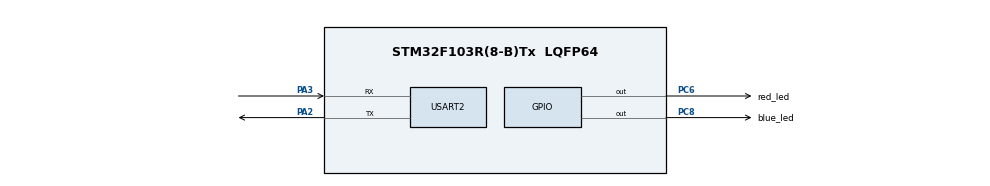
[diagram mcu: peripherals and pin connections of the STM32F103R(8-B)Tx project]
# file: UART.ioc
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Mcu.Family=STM32F1
Mcu.Name=STM32F103R(8-B)Tx
Mcu.Package=LQFP64
NVIC.PriorityGroup=NVIC_PRIORITYGROUP_4
PA2.Mode=Asynchronous
PA2.Signal=USART2_TX
PA3.Mode=Asynchronous
PA3.Signal=USART2_RX
PC6.GPIO_Label=red_led
PC6.Signal=GPIO_Output
PC8.GPIO_Label=blue_led
PC8.Signal=GPIO_Output
ProjectManager.HeapSize=0x200
ProjectManager.StackSize=0x400
ProjectManager.TargetToolchain=STM32CubeIDE
RCC.APB1Freq_Value=8000000
RCC.APB2Freq_Value=8000000
USART2.VirtualMode=VM_ASYNC
VP_SYS_VS_ND.Mode=No_Debug
board=custom

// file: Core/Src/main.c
/* USER CODE BEGIN Header */
/**
  ******************************************************************************
  * @file           : main.c
  * @brief          : Main program body
  ******************************************************************************
  * @attention
  *
  * <h2><center>&copy; Copyright (c) 2020 STMicroelectronics.
  * All rights reserved.</center></h2>
  *
  * This software component is licensed by ST under BSD 3-Clause license,
  * the "License"; You may not use this file except in compliance with the
  * License. You may obtain a copy of the License at:
  *                        opensource.org/licenses/BSD-3-Clause
  *
  ******************************************************************************
  */
/* USER CODE END Header */
#include "main.h"
#include "usart.h"
#include "gpio.h"

void SystemClock_Config(void);
/* USER CODE BEGIN PFP */
int _read(int file, char *ptr, int len);
int _write(int file, char *ptr, int len);
/* USER CODE END PFP */

int main(void)
{

  /* MCU Configuration--------------------------------------------------------*/

  /* Reset of all peripherals, Initializes the Flash interface and the Systick. */
  HAL_Init();

  /* Configure the system clock */
  SystemClock_Config();

  /* Initialize all configured peripherals */
  MX_GPIO_Init();
  MX_USART2_UART_Init();

  /* Infinite loop */
  /* USER CODE BEGIN WHILE */
  uint8_t buf[10] = "\n\r";
  int current_temp = 20;
  while (1)
  {
	  printf("Shell >> ");
	  scanf("%s", buf);
	  printf("\n\r");
	  if(!strcmp(buf, "1")){
		  HAL_GPIO_WritePin(GPIOC, red_led_Pin, 1);
		  HAL_GPIO_WritePin(GPIOC, blue_led_Pin, 0);
	  }
	  else if(!strcmp(buf, "2")){
		  HAL_GPIO_WritePin(GPIOC, red_led_Pin, 0);
		  HAL_GPIO_WritePin(GPIOC, blue_led_Pin, 1);
	  }
	  else{
		  printf("Wrong command\n\r", buf);
	  }
    /* USER CODE END WHILE */

  }
}

void SystemClock_Config(void)
{
  RCC_OscInitTypeDef RCC_OscInitStruct = {0};
  RCC_ClkInitTypeDef RCC_ClkInitStruct = {0};

  /** Initializes the RCC Oscillators according to the specified parameters
  * in the RCC_OscInitTypeDef structure.
  */
  RCC_OscInitStruct.OscillatorType = RCC_OSCILLATORTYPE_HSI;
  RCC_OscInitStruct.HSIState = RCC_HSI_ON;
  RCC_OscInitStruct.HSICalibrationValue = RCC_HSICALIBRATION_DEFAULT;
  RCC_OscInitStruct.PLL.PLLState = RCC_PLL_NONE;
  if (HAL_RCC_OscConfig(&RCC_OscInitStruct) != HAL_OK)
  {
    Error_Handler();
  }
  /** Initializes the CPU, AHB and APB buses clocks
  */
  RCC_ClkInitStruct.ClockType = RCC_CLOCKTYPE_HCLK|RCC_CLOCKTYPE_SYSCLK
                              |RCC_CLOCKTYPE_PCLK1|RCC_CLOCKTYPE_PCLK2;
  RCC_ClkInitStruct.SYSCLKSource = RCC_SYSCLKSOURCE_HSI;
  RCC_ClkInitStruct.AHBCLKDivider = RCC_SYSCLK_DIV1;
  RCC_ClkInitStruct.APB1CLKDivider = RCC_HCLK_DIV1;
  RCC_ClkInitStruct.APB2CLKDivider = RCC_HCLK_DIV1;

  if (HAL_RCC_ClockConfig(&RCC_ClkInitStruct, FLASH_LATENCY_0) != HAL_OK)
  {
    Error_Handler();
  }
}

/* USER CODE BEGIN 4 */
int _read(int file, char *ptr, int len){
	HAL_UART_Receive(&huart2, (uint8_t *)ptr, 1, 0xFFFF);
	HAL_UART_Transmit(&huart2, (uint8_t *)ptr, 1, 100);
	return 1;
}

int _write(int file, char *ptr, int len){
	HAL_UART_Transmit(&huart2, (uint8_t *)ptr, len, 100);
	return len;
}

/* USER CODE END 4 */

void Error_Handler(void)
{
}

/************************ (C) COPYRIGHT STMicroelectronics *****END OF FILE****/
